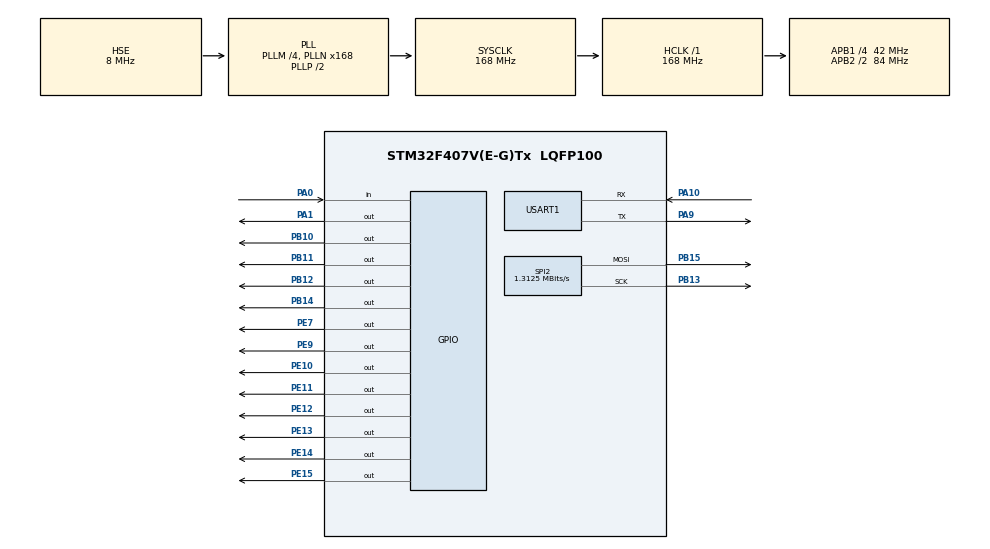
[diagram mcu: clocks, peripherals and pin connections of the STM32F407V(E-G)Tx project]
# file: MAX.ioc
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Mcu.Family=STM32F4
Mcu.Name=STM32F407V(E-G)Tx
Mcu.Package=LQFP100
NVIC.PriorityGroup=NVIC_PRIORITYGROUP_4
NVIC.USART1_IRQn=true\:0\:0\:false\:false\:true\:true\:true
PA0-WKUP.GPIO_PuPd=GPIO_PULLDOWN
PA0-WKUP.Signal=GPIO_Input
PA1.Signal=GPIO_Output
PA10.Mode=Asynchronous
PA10.Signal=USART1_RX
PA13.Mode=Serial_Wire
PA13.Signal=SYS_JTMS-SWDIO
PA14.Mode=Serial_Wire
PA14.Signal=SYS_JTCK-SWCLK
PA9.Mode=Asynchronous
PA9.Signal=USART1_TX
PB10.Signal=GPIO_Output
PB11.Signal=GPIO_Output
PB12.Signal=GPIO_Output
PB13.Mode=TX_Only_Simplex_Unidirect_Master
PB13.Signal=SPI2_SCK
PB14.Signal=GPIO_Output
PB15.Mode=TX_Only_Simplex_Unidirect_Master
PB15.Signal=SPI2_MOSI
PE10.Signal=GPIO_Output
PE11.Signal=GPIO_Output
PE12.Signal=GPIO_Output
PE13.Signal=GPIO_Output
PE14.Signal=GPIO_Output
PE15.Signal=GPIO_Output
PE7.Signal=GPIO_Output
PE9.Signal=GPIO_Output
PH0-OSC_IN.Mode=HSE-External-Oscillator
PH0-OSC_IN.Signal=RCC_OSC_IN
PH1-OSC_OUT.Mode=HSE-External-Oscillator
PH1-OSC_OUT.Signal=RCC_OSC_OUT
ProjectManager.HeapSize=0x200
ProjectManager.StackSize=0x400
ProjectManager.TargetToolchain=STM32CubeIDE
RCC.48MHZClocksFreq_Value=84000000
RCC.AHBFreq_Value=168000000
RCC.APB1CLKDivider=RCC_HCLK_DIV4
RCC.APB1Freq_Value=42000000
RCC.APB1TimFreq_Value=84000000
RCC.APB2CLKDivider=RCC_HCLK_DIV2
RCC.APB2Freq_Value=84000000
RCC.APB2TimFreq_Value=168000000
RCC.CortexFreq_Value=168000000
RCC.HCLKFreq_Value=168000000
RCC.HSE_VALUE=8000000
RCC.HSI_VALUE=16000000
RCC.LSE_VALUE=32768
RCC.PLLM=4
RCC.PLLN=168
RCC.PLLSourceVirtual=RCC_PLLSOURCE_HSE
RCC.SYSCLKFreq_VALUE=168000000
RCC.SYSCLKSource=RCC_SYSCLKSOURCE_PLLCLK
RCC.VCOOutputFreq_Value=336000000
SPI2.BaudRatePrescaler=SPI_BAUDRATEPRESCALER_32
SPI2.CalculateBaudRate=1.3125 MBits/s
SPI2.Direction=SPI_DIRECTION_2LINES
SPI2.Mode=SPI_MODE_MASTER
SPI2.VirtualType=VM_MASTER
USART1.VirtualMode=VM_ASYNC
board=custom

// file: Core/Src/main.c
/* USER CODE BEGIN Header */
/**
  ******************************************************************************
  * @file           : main.c
  * @brief          : Main program body
  ******************************************************************************
  * @attention
  *
  * <h2><center>&copy; Copyright (c) 2021 STMicroelectronics.
  * All rights reserved.</center></h2>
  *
  * This software component is licensed by ST under BSD 3-Clause license,
  * the "License"; You may not use this file except in compliance with the
  * License. You may obtain a copy of the License at:
  *                        opensource.org/licenses/BSD-3-Clause
  *
  ******************************************************************************
  */
/* USER CODE END Header */
#include "main.h"
#include "spi.h"
#include "usart.h"
#include "gpio.h"

/* USER CODE BEGIN Includes */
#include "ROBOTIN.h"
#include "IMAGES.h"
#include "max7219.h"

/* USER CODE END Includes */

/* USER CODE BEGIN PM */
uint8_t data;
/* USER CODE END PM */

void SystemClock_Config(void);

/* USER CODE BEGIN 0 */
void sendDataSPI(uint8_t reg, uint8_t data);

void MAX72xx_putChar(char ch);

void MAX72xx_print(uint8_t* str);
/* USER CODE END 0 */

int main(void)
{

  /* MCU Configuration--------------------------------------------------------*/

  /* Reset of all peripherals, Initializes the Flash interface and the Systick. */
  HAL_Init();

  /* Configure the system clock */
  SystemClock_Config();

  /* Initialize all configured peripherals */
  MX_GPIO_Init();
  MX_USART1_UART_Init();
  MX_SPI2_Init();
  /* USER CODE BEGIN 2 */
  HAL_UART_Receive_IT(&huart1, &data, 1);
  MAX72xx_Init();
  for(uint8_t i = 0; i<ICONS_LEN; i++){
  		  //sendDataSPI(i+1, INCONS[7][i]);
	  for(uint8_t j = 0;j<8; j++){
		  sendDataSPI(j+1, ICONS[i][j]);
	  }
	  HAL_Delay(200);
   }
  /* USER CODE END 2 */

  /* Infinite loop */
  while (1)
  {

    /* USER CODE BEGIN 3 */
	  HAL_GPIO_TogglePin(GPIOA, GPIO_PIN_1);
	  HAL_GPIO_TogglePin(GPIOE, GPIO_PIN_11 | GPIO_PIN_12 | GPIO_PIN_9);
	  HAL_Delay(100);

  }
  /* USER CODE END 3 */
}

void SystemClock_Config(void)
{
  RCC_OscInitTypeDef RCC_OscInitStruct = {0};
  RCC_ClkInitTypeDef RCC_ClkInitStruct = {0};

  /** Configure the main internal regulator output voltage
  */
  __HAL_RCC_PWR_CLK_ENABLE();
  __HAL_PWR_VOLTAGESCALING_CONFIG(PWR_REGULATOR_VOLTAGE_SCALE1);
  /** Initializes the RCC Oscillators according to the specified parameters
  * in the RCC_OscInitTypeDef structure.
  */
  RCC_OscInitStruct.OscillatorType = RCC_OSCILLATORTYPE_HSE;
  RCC_OscInitStruct.HSEState = RCC_HSE_ON;
  RCC_OscInitStruct.PLL.PLLState = RCC_PLL_ON;
  RCC_OscInitStruct.PLL.PLLSource = RCC_PLLSOURCE_HSE;
  RCC_OscInitStruct.PLL.PLLM = 4;
  RCC_OscInitStruct.PLL.PLLN = 168;
  RCC_OscInitStruct.PLL.PLLP = RCC_PLLP_DIV2;
  RCC_OscInitStruct.PLL.PLLQ = 4;
  if (HAL_RCC_OscConfig(&RCC_OscInitStruct) != HAL_OK)
  {
    Error_Handler();
  }
  /** Initializes the CPU, AHB and APB buses clocks
  */
  RCC_ClkInitStruct.ClockType = RCC_CLOCKTYPE_HCLK|RCC_CLOCKTYPE_SYSCLK
                              |RCC_CLOCKTYPE_PCLK1|RCC_CLOCKTYPE_PCLK2;
  RCC_ClkInitStruct.SYSCLKSource = RCC_SYSCLKSOURCE_PLLCLK;
  RCC_ClkInitStruct.AHBCLKDivider = RCC_SYSCLK_DIV1;
  RCC_ClkInitStruct.APB1CLKDivider = RCC_HCLK_DIV4;
  RCC_ClkInitStruct.APB2CLKDivider = RCC_HCLK_DIV2;

  if (HAL_RCC_ClockConfig(&RCC_ClkInitStruct, FLASH_LATENCY_5) != HAL_OK)
  {
    Error_Handler();
  }
}

/* USER CODE BEGIN 4 */
void sendDataSPI(uint8_t reg, uint8_t data){
	//NSS -> LOW
	HAL_GPIO_WritePin(GPIOB, GPIO_PIN_12, RESET);
	//send address
	HAL_SPI_Transmit(&hspi2, (uint8_t*)&reg, 1, HAL_MAX_DELAY);
	while(HAL_SPI_GetState(&hspi2)!=HAL_SPI_STATE_READY);
	//send data
	HAL_SPI_Transmit(&hspi2, (uint8_t*)&data, 1, HAL_MAX_DELAY);
	while(HAL_SPI_GetState(&hspi2)!=HAL_SPI_STATE_READY);
	//NSS ->HIGH
	HAL_GPIO_WritePin(GPIOB, GPIO_PIN_12, GPIO_PIN_SET);
}

void MAX72xx_print(uint8_t* str){
	while(*str){
		if(*str != ' '){
			for(uint8_t i = 0;i<8;i++){
				sendDataSPI(i+1, LETTERS[*str - 48][i]);
			}
		}
		else{//si el caracter es un espacio en blanco
			for(uint8_t i = 0;i<8;i++){
				sendDataSPI(i+1, 0x00);	//no se muestra nada
			}
		}
		str++;
		HAL_Delay(400);
	}
}
void MAX72xx_putChar(char ch){
	for(uint8_t i = 0;i<8;i++){
		MAX72xx_write(i+1,LETTERS[ch - 48][i]);
		//sendDataSPI(i+1, LETTERS[ch - 48][i]);
	}
}
/* USER CODE END 4 */

void Error_Handler(void)
{
  __disable_irq();
  while (1)
  {
  }
}

/************************ (C) COPYRIGHT STMicroelectronics *****END OF FILE****/
